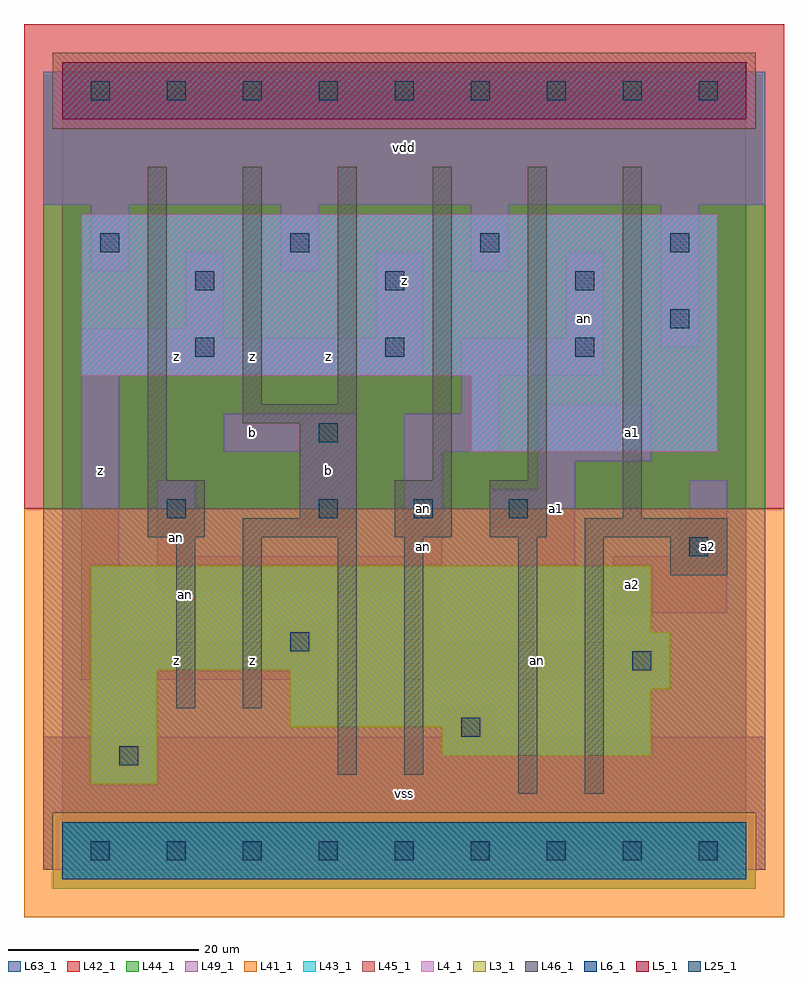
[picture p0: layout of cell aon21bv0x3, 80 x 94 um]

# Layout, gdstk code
import gdstk
lib = gdstk.Library(unit=1e-6, precision=1e-09)
def R(c, l, rs):  # rectangles x0, y0, x1, y1
    for r in rs: c.add(gdstk.rectangle(r[:2], r[2:], *l))
def A(c, l, x, y, w, h, nx, ny, dx, dy):  # array of equal rectangles
    R(c, l, [(x+i*dx, y+j*dy, x+i*dx+w, y+j*dy+h) for i in range(nx) for j in range(ny)])
L3_1 = (3, 1)
L4_1 = (4, 1)
L5_1 = (5, 1)
L6_1 = (6, 1)
L25_1 = (25, 1)
L41_1 = (41, 1)
L42_1 = (42, 1)
L43_1 = (43, 1)
L44_1 = (44, 1)
L45_1 = (45, 1)
L46_1 = (46, 1)
L49_1 = (49, 1)
L63_1 = (63, 1)

aon21bv0x3 = lib.new_cell('aon21bv0x3')
R(aon21bv0x3, L3_1, [(3,7,10,19), (40,10,62,13), (24,13,62,17), (24,17,64,19), (3,19,64,23), (3,23,62,30)])
R(aon21bv0x3, L4_1, [(43,42,69,50), (2,50,69,67)])
R(aon21bv0x3, L5_1, [(0,77,72,83)])
R(aon21bv0x3, L6_1, [(0,-3,72,3), (0,-3,72,3)])
A(aon21bv0x3, L25_1, 3, -1, 2, 2, 9, 2, 8, 80)
A(aon21bv0x3, L25_1, 27, 35, 2, 2, 3, 1, 10, 0)
A(aon21bv0x3, L25_1, 14, 52, 2, 2, 3, 2, 20, 7)
A(aon21bv0x3, L25_1, 4, 63, 2, 2, 4, 1, 20, 0)
R(aon21bv0x3, L25_1, [(6,9,8,11), (42,12,44,14), (60,19,62,21), (24,21,26,23), (66,31,68,33), (11,35,13,37), (27,43,29,45), (64,55,66,57)])
R(aon21bv0x3, L41_1, [(-4,-7,76,36)])
R(aon21bv0x3, L42_1, [(-4,36,76,87)])
R(aon21bv0x3, L43_1, [(0,-3,72,3), (3,7,10,19), (40,10,62,13), (24,13,62,17), (24,17,64,19), (3,19,64,23), (3,23,62,30), (43,42,69,50), (2,50,69,67), (0,77,72,83)])
R(aon21bv0x3, L44_1, [(-1,-4,73,4), (-2,36,74,76), (-2,76,-1,82), (73,76,74,82)])
R(aon21bv0x3, L45_1, [(-2,-2,-1,4), (73,-2,74,4), (-2,4,74,36), (-1,76,73,84)])
R(aon21bv0x3, L46_1, [(48,6,50,33), (55,6,57,33), (29,8,31,33), (36,8,38,33), (12,15,14,33), (19,15,21,33), (64,29,70,33), (9,33,15,39), (19,33,31,35), (35,33,41,39), (45,33,51,39), (55,33,70,35), (25,35,31,45), (59,35,61,72), (9,39,11,72), (39,39,41,72), (49,39,51,72), (19,45,31,47), (19,47,21,72), (29,47,31,72)])
A(aon21bv0x3, L49_1, 3, 61, 4, 7, 3, 1, 20, 0)
R(aon21bv0x3, L49_1, [(-2,-2,74,12), (40,12,46,15), (2,18,28,22), (36,18,64,22), (2,22,6,50), (22,22,28,24), (36,22,40,27), (50,25,54,34), (58,25,70,31), (10,27,40,31), (10,31,14,39), (36,31,40,42), (65,31,70,35), (25,34,31,42), (45,34,54,38), (66,35,70,39), (50,38,54,41), (50,41,62,47), (17,42,31,46), (36,42,46,46), (42,46,46,50), (2,50,38,54), (42,50,57,54), (63,53,67,68), (2,54,17,55), (33,54,38,63), (53,54,57,63), (13,55,17,63), (-2,68,74,82)])
R(aon21bv0x3, L63_1, [(0,0,72,80)])
aon21bv0x3.add(gdstk.Label('an', (13,27), layer=46, texttype=1))
aon21bv0x3.add(gdstk.Label('an', (38,36), layer=49, texttype=1))
aon21bv0x3.add(gdstk.Label('z', (4,40), layer=49, texttype=1))
aon21bv0x3.add(gdstk.Label('z', (12,20), layer=49, texttype=1))
aon21bv0x3.add(gdstk.Label('z', (20,20), layer=49, texttype=1))
aon21bv0x3.add(gdstk.Label('an', (12,33), layer=49, texttype=1))
aon21bv0x3.add(gdstk.Label('b', (20,44), layer=49, texttype=1))
aon21bv0x3.add(gdstk.Label('z', (20,52), layer=49, texttype=1))
aon21bv0x3.add(gdstk.Label('z', (12,52), layer=49, texttype=1))
aon21bv0x3.add(gdstk.Label('vss', (36,6), layer=49, texttype=1))
aon21bv0x3.add(gdstk.Label('an', (38,32), layer=49, texttype=1))
aon21bv0x3.add(gdstk.Label('b', (28,40), layer=49, texttype=1))
aon21bv0x3.add(gdstk.Label('z', (28,52), layer=49, texttype=1))
aon21bv0x3.add(gdstk.Label('z', (36,60), layer=49, texttype=1))
aon21bv0x3.add(gdstk.Label('vdd', (36,74), layer=49, texttype=1))
aon21bv0x3.add(gdstk.Label('a1', (52,36), layer=49, texttype=1))
aon21bv0x3.add(gdstk.Label('an', (55,56), layer=49, texttype=1))
aon21bv0x3.add(gdstk.Label('a2', (60,28), layer=49, texttype=1))
aon21bv0x3.add(gdstk.Label('an', (50,20), layer=49, texttype=1))
aon21bv0x3.add(gdstk.Label('a2', (68,32), layer=49, texttype=1))
aon21bv0x3.add(gdstk.Label('a1', (60,44), layer=49, texttype=1))

lib.write_gds('aon21bv0x3.gds')
